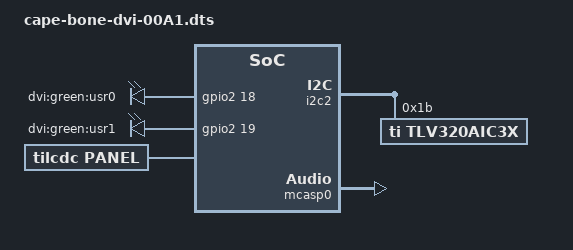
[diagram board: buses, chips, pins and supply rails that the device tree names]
/*
 * Copyright (C) 2012 Texas Instruments Incorporated - http://www.ti.com/
 *
 * This program is free software; you can redistribute it and/or modify
 * it under the terms of the GNU General Public License version 2 as
 * published by the Free Software Foundation.
 */
/dts-v1/;
/plugin/;

/ {
	compatible = "ti,beaglebone";

	/* identification */
	part-number = "BB-BONE-DVID-01";
	version = "00A1", "A1";

	fragment@0 {
		target = <&am33xx_pinmux>;
		__overlay__ {

			bone_dvi_cape_led_pins: pinmux_bone_dvi_cape_led_pins {
				pinctrl-single,pins = <
					0x48 0x07	/* gpmc_a2.gpio1_18, OUTPUT | MODE7 */
					0x4c 0x07	/* gpmc_a3.gpio1_19, OUTPUT | MODE7 */
				>;
			};

			bone_dvi_cape_dvi_00A1_pins: pinmux_bone_dvi_cape_dvi_00A1_pins {
				pinctrl-single,pins = <
					0x1c 0x07	/* gpmc_ad7.gpio1_7, OUTPUT | MODE7 - DVIPDn */

					0xa0 0x08	/* lcd_data0.lcd_data0, OMAP_MUX_MODE0 | AM33XX_PIN_OUTPUT | AM33XX_PULL_DISA */
					0xa4 0x08	/* lcd_data1.lcd_data1, OMAP_MUX_MODE0 | AM33XX_PIN_OUTPUT | AM33XX_PULL_DISA */
					0xa8 0x08	/* lcd_data2.lcd_data2, OMAP_MUX_MODE0 | AM33XX_PIN_OUTPUT | AM33XX_PULL_DISA */
					0xac 0x08	/* lcd_data3.lcd_data3, OMAP_MUX_MODE0 | AM33XX_PIN_OUTPUT | AM33XX_PULL_DISA */
					0xb0 0x08	/* lcd_data4.lcd_data4, OMAP_MUX_MODE0 | AM33XX_PIN_OUTPUT | AM33XX_PULL_DISA */
					0xb4 0x08	/* lcd_data5.lcd_data5, OMAP_MUX_MODE0 | AM33XX_PIN_OUTPUT | AM33XX_PULL_DISA */
					0xb8 0x08	/* lcd_data6.lcd_data6, OMAP_MUX_MODE0 | AM33XX_PIN_OUTPUT | AM33XX_PULL_DISA */
					0xbc 0x08	/* lcd_data7.lcd_data7, OMAP_MUX_MODE0 | AM33XX_PIN_OUTPUT | AM33XX_PULL_DISA */
					0xc0 0x08	/* lcd_data8.lcd_data8, OMAP_MUX_MODE0 | AM33XX_PIN_OUTPUT | AM33XX_PULL_DISA */
					0xc4 0x08	/* lcd_data9.lcd_data9, OMAP_MUX_MODE0 | AM33XX_PIN_OUTPUT | AM33XX_PULL_DISA */
					0xc8 0x08	/* lcd_data10.lcd_data10, OMAP_MUX_MODE0 | AM33XX_PIN_OUTPUT | AM33XX_PULL_DISA */
					0xcc 0x08	/* lcd_data11.lcd_data11, OMAP_MUX_MODE0 | AM33XX_PIN_OUTPUT | AM33XX_PULL_DISA */
					0xd0 0x08	/* lcd_data12.lcd_data12, OMAP_MUX_MODE0 | AM33XX_PIN_OUTPUT | AM33XX_PULL_DISA */
					0xd4 0x08	/* lcd_data13.lcd_data13, OMAP_MUX_MODE0 | AM33XX_PIN_OUTPUT | AM33XX_PULL_DISA */
					0xd8 0x08	/* lcd_data14.lcd_data14, OMAP_MUX_MODE0 | AM33XX_PIN_OUTPUT | AM33XX_PULL_DISA */
					0xdc 0x08	/* lcd_data15.lcd_data15, OMAP_MUX_MODE0 | AM33XX_PIN_OUTPUT | AM33XX_PULL_DISA */
					0xe0 0x00	/* lcd_vsync.lcd_vsync, OMAP_MUX_MODE0 | AM33XX_PIN_OUTPUT */
					0xe4 0x00	/* lcd_hsync.lcd_hsync, OMAP_MUX_MODE0 | AM33XX_PIN_OUTPUT */
					0xe8 0x00	/* lcd_pclk.lcd_pclk, OMAP_MUX_MODE0 | AM33XX_PIN_OUTPUT */
					0xec 0x00	/* lcd_ac_bias_en.lcd_ac_bias_en, OMAP_MUX_MODE0 | AM33XX_PIN_OUTPUT */
				>;
			};

			bone_dvi_cape_audio_pins: pinmux_bone_dvi_cape_audio_pins {
				pinctrl-single,pins = <
					0x190 0x20	/* mcasp0_aclkx.mcasp0_aclkx, INPUT | MODE0 */
					0x194 0x20	/* mcasp0_fsx.mcasp0_fsx, INPUT | MODE0 */
					0x19c 0x22	/* mcasp0_ahclkr.mcasp0_axr2, INPUT | MODE2 */
					0x1ac 0x22	/* mcasp0_ahclkx.mcasp0_axr3, INPUT | MODE2 */

				>;
			};
		};
	};

	fragment@1 {
		target = <&ocp>;
		__overlay__ {

			/* avoid stupid warning */
			#address-cells = <1>;
			#size-cells = <1>;

			gpio-leds-cape-dvi {
				compatible = "gpio-leds";
				pinctrl-names = "default";
				pinctrl-0 = <&bone_dvi_cape_led_pins>;

				dvi-led0 {
					label = "dvi:green:usr0";
					gpios = <&gpio2 18 0>;
					linux,default-trigger = "heartbeat";
					default-state = "off";
				};

				dvi-led1 {
					label = "dvi:green:usr1";
					gpios = <&gpio2 19 0>;
					linux,default-trigger = "mmc0";
					default-state = "off";
				};
			};

			/* Settings for DVI 1024x768@60 */
			panel {
				compatible = "tilcdc,panel";
				pinctrl-names = "default";
				pinctrl-0 = <&bone_dvi_cape_dvi_00A1_pins>;
				panel-info {
					ac-bias           = <255>;
					ac-bias-intrpt    = <0>;
					dma-burst-sz      = <16>;
					bpp               = <16>;
					fdd               = <0x80>;
					tft-alt-mode      = <0>;
					stn-565-mode      = <0>;
					mono-8bit-mode    = <0>;
					invert-line-clock = <1>;
					invert-frm-clock  = <1>;
					sync-edge         = <0>;
					sync-ctrl         = <1>;
					raster-order      = <0>;
					fifo-th           = <0>;
				};
				display-timings {
					native-mode = <&timing1>;
					timing0: 1024x768 {
						hactive         = <1024>;
						vactive         = <768>;
						hback-porch     = <80>;
						hfront-porch    = <48>;
						vback-porch     = <15>;
						vfront-porch    = <3>;
						hsync-len       = <32>;
						vsync-len       = <4>;
						clock-frequency = <56000000>;
					};
					/* 1280 x 720 @ 60 Hz  Reduced blanking VESA CVT 0.92M9-R */
					timing1: 1280x720-60 {
						hactive         = <1280>;
						hfront-porch    = <48>;
						hsync-len       = <32>;
						hback-porch     = <80>;
						vactive         = <720>;
						vfront-porch    = <3>;
						vsync-len       = <5>;
						vback-porch     = <13>;
						clock-frequency = <64000000>;
					};

				};
			};

			fb {
				compatible = "ti,am33xx-tilcdc";
				reg = <0x4830e000 0x1000>;
				interrupt-parent = <&intc>;
				interrupts = <36>;
				ti,hwmods = "lcdc";
				ti,power-gpio = <&gpio1 7 0x0>;
			};

		};
	};

	fragment@2 {
		target = <&i2c2>;
		__overlay__ {
			#address-cells = <1>;
			#size-cells = <0>;

			tlv320aic3x: tlv320aic3x@1b {
				compatible = "ti,tlv320aic3x";
				reg = <0x1b>;
				status = "okay";
			};
		};
	};

	fragment@3 {
		target = <&mcasp0>;
		__overlay__ {
			pinctrl-names = "default";
			pinctrl-0 = <&bone_dvi_cape_audio_pins>;

			status = "okay";

			op-mode = <0>;          /* MCASP_IIS_MODE */
			tdm-slots = <2>;
			num-serializer = <16>;
			serial-dir = <  /* 0: INACTIVE, 1: TX, 2: RX */
				0 0 2 1
				0 0 0 0
				0 0 0 0
				0 0 0 0
			>;
			tx-num-evt = <1>;
			rx-num-evt = <1>;
		};
	};

	fragment@4 {
		target = <&ocp>;
		__overlay__ {
			sound {
				compatible = "ti,da830-evm-audio";
				ti,model = "DA830 EVM";
				ti,audio-codec = <&tlv320aic3x>;
				ti,mcasp-controller = <&mcasp0>;
				ti,codec-clock-rate = <12000000>;
				ti,audio-routing =
					"Headphone Jack",       "HPLOUT",
					"Headphone Jack",       "HPROUT",
					"LINE1L",               "Line In",
					"LINE1R",               "Line In";
			};
		};

	};
};
